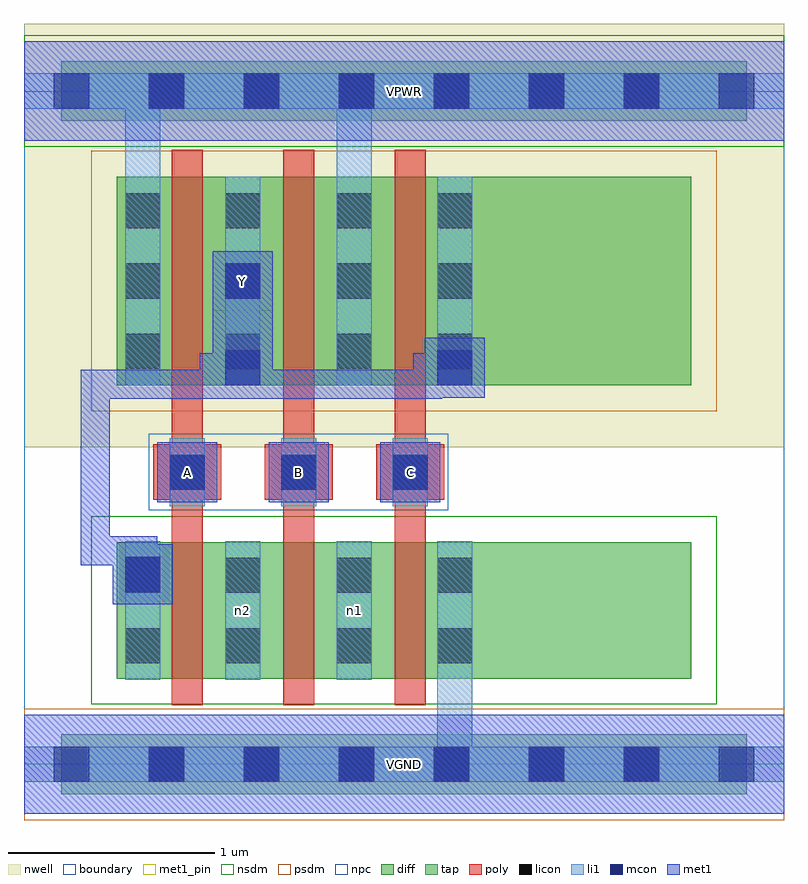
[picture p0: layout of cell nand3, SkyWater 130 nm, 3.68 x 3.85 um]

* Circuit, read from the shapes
.subckt nand3 A B C VGND VPWR Y n1 n2
XM1 n2 A Y VGND sky130_fd_pr__nfet_01v8 w=0.66 l=0.15
XM2 n1 B n2 VGND sky130_fd_pr__nfet_01v8 w=0.66 l=0.15
XM3 VGND C n1 VGND sky130_fd_pr__nfet_01v8 w=0.66 l=0.15
XM4 Y A VPWR VPWR sky130_fd_pr__pfet_01v8 w=1.01 l=0.15
XM5 VPWR B Y VPWR sky130_fd_pr__pfet_01v8 w=1.01 l=0.15
XM6 Y C VPWR VPWR sky130_fd_pr__pfet_01v8 w=1.01 l=0.15
.ends

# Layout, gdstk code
import gdstk
lib = gdstk.Library(unit=1e-6, precision=1e-09)
def R(c, l, rs):  # rectangles x0, y0, x1, y1
    for r in rs: c.add(gdstk.rectangle(r[:2], r[2:], *l))
def A(c, l, x, y, w, h, nx, ny, dx, dy):  # array of equal rectangles
    R(c, l, [(x+i*dx, y+j*dy, x+i*dx+w, y+j*dy+h) for i in range(nx) for j in range(ny)])
nwell = (64, 20)
diff = (65, 20)
tap = (65, 44)
poly = (66, 20)
licon = (66, 44)
li1 = (67, 20)
mcon = (67, 44)
met1_pin = (68, 16)
met1 = (68, 20)
nsdm = (93, 44)
psdm = (94, 20)
npc = (95, 20)
boundary = (235, 4)

nand3 = lib.new_cell('nand3')
R(nand3, nwell, [(0,1.535,3.68,3.585)])
R(nand3, diff, [(0.45,0.415,3.23,1.075), (0.45,1.835,3.23,2.845)])
R(nand3, tap, [(0.18,-0.145,3.5,0.145), (0.18,3.115,3.5,3.405)])
A(nand3, poly, 0.715, 0.285, 0.15, 2.69, 3, 1, 0.54, 0)
A(nand3, poly, 0.625, 1.28, 0.33, 0.27, 3, 1, 0.54, 0)
A(nand3, licon, 0.605, -0.085, 0.17, 0.17, 6, 2, 0.46, 3.26)
A(nand3, licon, 0.705, 1.33, 0.17, 0.17, 3, 1, 0.54, 0)
A(nand3, licon, 0.49, 1.915, 0.17, 0.17, 1, 3, 0, 0.34)
A(nand3, licon, 0.975, 1.915, 0.17, 0.17, 1, 3, 0, 0.34)
A(nand3, licon, 1.515, 1.915, 0.17, 0.17, 1, 3, 0, 0.34)
A(nand3, licon, 2, 1.915, 0.17, 0.17, 1, 3, 0, 0.34)
R(nand3, licon, [(0.49,0.49,0.66,0.66), (0.975,0.49,1.145,0.66), (1.515,0.49,1.685,0.66), (2,0.49,2.17,0.66), (0.49,0.83,0.66,1), (0.975,0.83,1.145,1), (1.515,0.83,1.685,1), (2,0.83,2.17,1)])
A(nand3, li1, 0.705, 1.25, 0.17, 0.33, 3, 1, 0.54, 0)
R(nand3, li1, [(0,-0.085,3.68,0.085), (2,-0.085,2.17,1.08), (0.49,0.41,0.66,1.08), (0.975,0.41,1.145,1.08), (1.515,0.41,1.685,1.08), (2,0.41,2.17,1.08), (0.49,1.835,0.66,2.845), (0.49,1.835,0.66,3.345), (0.975,1.835,1.145,2.845), (1.515,1.835,1.685,2.845), (1.515,1.835,1.685,3.345), (2,1.835,2.17,2.845), (0,3.175,3.68,3.345)])
A(nand3, mcon, 0.145, -0.085, 0.17, 0.17, 8, 2, 0.46, 3.26)
A(nand3, mcon, 0.705, 1.33, 0.17, 0.17, 3, 1, 0.54, 0)
R(nand3, mcon, [(0.49,0.835,0.66,1.005), (0.975,1.835,1.145,2.005), (2,1.835,2.17,2.005), (0.975,2.255,1.145,2.425)])
A(nand3, met1_pin, 0.645, 1.27, 0.29, 0.29, 3, 1, 0.54, 0)
R(nand3, met1_pin, [(0,-0.24,3.68,0.24), (0.915,2.195,1.205,2.485), (0,3.02,3.68,3.5)])
A(nand3, met1, 0.645, 1.27, 0.29, 0.29, 3, 1, 0.54, 0)
R(nand3, met1, [(0,-0.24,3.68,0.24), (0.43,0.775,0.72,1.065), (0.505,0.85,0.645,1.105), (0.275,0.965,0.645,1.105), (0.275,0.965,0.415,1.91), (0.275,1.77,0.99,1.91), (0.85,1.77,0.99,1.99), (0.85,1.77,2.025,1.91), (1.885,1.77,2.025,1.99), (0.915,1.775,1.205,2.065), (1.94,1.775,2.23,2.065), (0.85,1.85,1.13,1.99), (1.885,1.85,2.155,1.99), (0.915,2.065,1.205,2.195), (0.915,2.195,1.205,2.485), (0,3.02,3.68,3.5)])
R(nand3, nsdm, [(0.325,0.29,3.355,1.2), (0,2.99,3.68,3.53)])
R(nand3, psdm, [(0,-0.27,3.68,0.27), (0.325,1.71,3.355,2.97)])
R(nand3, npc, [(0.605,1.23,2.055,1.6)])
R(nand3, boundary, [(0,0,3.68,3.26)])
nand3.add(gdstk.Label('n2', (1.06,0.745), layer=67, texttype=5))
nand3.add(gdstk.Label('n1', (1.6,0.745), layer=67, texttype=5))
nand3.add(gdstk.Label('A', (0.79,1.415), layer=68, texttype=5))
nand3.add(gdstk.Label('B', (1.33,1.415), layer=68, texttype=5))
nand3.add(gdstk.Label('C', (1.87,1.415), layer=68, texttype=5))
nand3.add(gdstk.Label('Y', (1.06,2.34), layer=68, texttype=5))
nand3.add(gdstk.Label('VPWR', (1.84,3.26), layer=68, texttype=5))
nand3.add(gdstk.Label('VGND', (1.84,0), layer=68, texttype=5))
nand3.add(gdstk.Label('A', (0.79,1.415), layer=68, texttype=16))
nand3.add(gdstk.Label('B', (1.33,1.415), layer=68, texttype=16))
nand3.add(gdstk.Label('C', (1.87,1.415), layer=68, texttype=16))
nand3.add(gdstk.Label('Y', (1.06,2.34), layer=68, texttype=16))
nand3.add(gdstk.Label('VPWR', (1.84,3.26), layer=68, texttype=16))
nand3.add(gdstk.Label('VGND', (1.84,0), layer=68, texttype=16))

lib.write_gds('nand3.gds')
